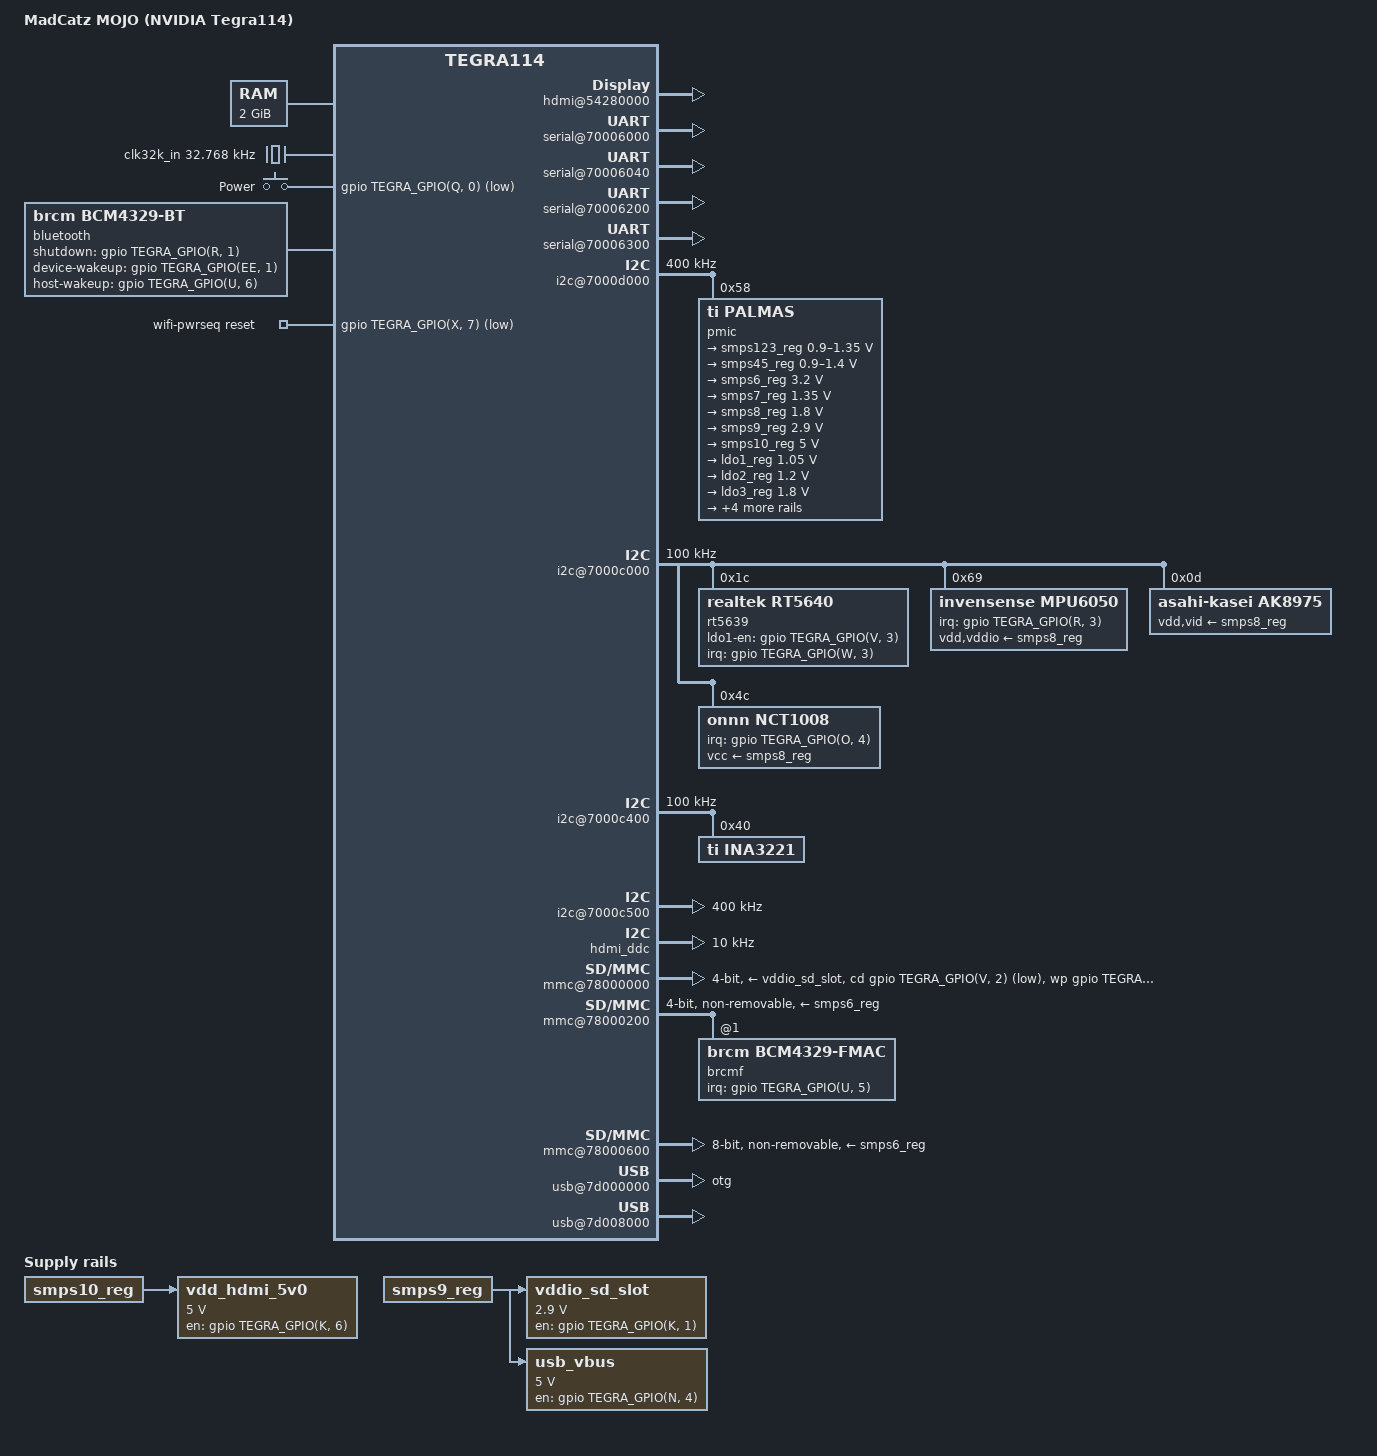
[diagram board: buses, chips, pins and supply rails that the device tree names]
// SPDX-License-Identifier: GPL-2.0
/dts-v1/;

#include <dt-bindings/input/input.h>
#include "tegra114.dtsi"

/ {
	model = "MadCatz MOJO (NVIDIA Tegra114)";
	compatible = "madcatz,mojo", "nvidia,tegra114";

	aliases {
		serial0 = &uarta;
		serial1 = &uartb;
		serial2 = &uartc;
		serial3 = &uartd;
	};

	chosen {
		stdout-path = "serial3:115200n8";
	};

	memory@80000000 {
		device_type = "memory";
		reg = <0x80000000 0x80000000>; /* 2GB */
	};

	host1x@50000000 {
		hdmi@54280000 {
			status = "okay";

			vdd-supply = <&vdd_hdmi_5v0>;
			pll-supply = <&ldo1_reg>;
			hdmi-supply = <&ldoln_reg>;

			nvidia,ddc-i2c-bus = <&hdmi_ddc>;
			nvidia,hpd-gpio = <&gpio TEGRA_GPIO(N, 7) GPIO_ACTIVE_HIGH>;
		};
	};

	pinmux@70000868 {
		pinctrl-names = "default";
		pinctrl-0 = <&state_default>;

		state_default: pinmux {
			/* Complete pinmux from existing DTS - inheriting */
		};
	};

	/* UART A - General purpose */
	serial@70006000 {
		status = "okay";
	};

	/* UART B - Bluetooth */
	serial@70006040 {
		status = "okay";
		nvidia,enable-modem-interrupt;
	};

	/* UART C - General purpose */
	serial@70006200 {
		status = "okay";
	};

	/* UART D - Debug console */
	serial@70006300 {
		status = "okay";
	};

	/* PWR I2C - PMIC */
	i2c@7000d000 {
		status = "okay";
		clock-frequency = <400000>;

		pmic: tps65913@58 {
			compatible = "ti,palmas";
			reg = <0x58>;
			interrupts = <0 86 IRQ_TYPE_LEVEL_HIGH>;

			#interrupt-cells = <2>;
			interrupt-controller;

			palmas_gpio: gpio {
				compatible = "ti,palmas-gpio";
				gpio-controller;
				#gpio-cells = <2>;
			};

			pmic {
				compatible = "ti,tps65913-pmic", "ti,palmas-pmic";

				regulators {
					smps123_reg: smps123 {
						regulator-name = "vdd-cpu";
						regulator-min-microvolt = <900000>;
						regulator-max-microvolt = <1350000>;
						regulator-always-on;
						regulator-boot-on;
					};

					smps45_reg: smps45 {
						regulator-name = "vdd-core";
						regulator-min-microvolt = <900000>;
						regulator-max-microvolt = <1400000>;
						regulator-always-on;
						regulator-boot-on;
					};

					smps6_reg: smps6 {
						regulator-name = "vdd-3v3-io";
						regulator-min-microvolt = <3200000>;
						regulator-max-microvolt = <3200000>;
						regulator-always-on;
						regulator-boot-on;
					};

					smps7_reg: smps7 {
						regulator-name = "vddio-ddr";
						regulator-min-microvolt = <1350000>;
						regulator-max-microvolt = <1350000>;
						regulator-always-on;
						regulator-boot-on;
					};

					smps8_reg: smps8 {
						regulator-name = "vddio-sys";
						regulator-min-microvolt = <1800000>;
						regulator-max-microvolt = <1800000>;
						regulator-always-on;
						regulator-boot-on;
					};

					smps9_reg: smps9 {
						regulator-name = "vddio-sd-slot";
						regulator-min-microvolt = <2900000>;
						regulator-max-microvolt = <2900000>;
						regulator-always-on;
						regulator-boot-on;
					};

					smps10_reg: smps10 {
						regulator-name = "vdd-5v0";
						regulator-min-microvolt = <5000000>;
						regulator-max-microvolt = <5000000>;
						regulator-always-on;
						regulator-boot-on;
					};

					ldo1_reg: ldo1 {
						regulator-name = "avdd-pll";
						regulator-min-microvolt = <1050000>;
						regulator-max-microvolt = <1050000>;
						regulator-always-on;
						regulator-boot-on;
					};

					ldo2_reg: ldo2 {
						regulator-name = "avdd-dsi-csi";
						regulator-min-microvolt = <1200000>;
						regulator-max-microvolt = <1200000>;
						regulator-always-on;
						regulator-boot-on;
					};

					ldo3_reg: ldo3 {
						regulator-name = "vpp-fuse";
						regulator-min-microvolt = <1800000>;
						regulator-max-microvolt = <1800000>;
					};

					ldo8_reg: ldo8 {
						regulator-name = "vdd-rtc";
						regulator-min-microvolt = <950000>;
						regulator-max-microvolt = <950000>;
						regulator-always-on;
						regulator-boot-on;
					};

					ldo9_reg: ldo9 {
						regulator-name = "vddio-sdmmc3";
						regulator-min-microvolt = <1800000>;
						regulator-max-microvolt = <2900000>;
					};

					ldoln_reg: ldoln {
						regulator-name = "avdd-hdmi";
						regulator-min-microvolt = <3300000>;
						regulator-max-microvolt = <3300000>;
					};

					ldousb_reg: ldousb {
						regulator-name = "avdd-usb";
						regulator-min-microvolt = <3300000>;
						regulator-max-microvolt = <3300000>;
						regulator-always-on;
						regulator-boot-on;
					};
				};
			};

			extcon {
				compatible = "ti,palmas-usb";
				ti,enable-id-detection;
				ti,enable-vbus-detection;
			};
		};
	};

	/* GEN1 I2C - Sensors & Audio Codec */
	i2c@7000c000 {
		status = "okay";
		clock-frequency = <100000>;

		rt5639: audio-codec@1c {
			compatible = "realtek,rt5640";
			reg = <0x1c>;
			interrupt-parent = <&gpio>;
			interrupts = <TEGRA_GPIO(W, 3) IRQ_TYPE_EDGE_FALLING>;
			realtek,ldo1-en-gpios = <&gpio TEGRA_GPIO(V, 3) GPIO_ACTIVE_HIGH>;
		};

		mpu6050: gyroscope@69 {
			compatible = "invensense,mpu6050";
			reg = <0x69>;
			interrupt-parent = <&gpio>;
			interrupts = <TEGRA_GPIO(R, 3) IRQ_TYPE_EDGE_RISING>;
			vdd-supply = <&smps8_reg>;
			vddio-supply = <&smps8_reg>;
			mount-matrix = "0", "1", "0",
				       "1", "0", "0",
				       "0", "0", "-1";
		};

		ak8975: magnetometer@d {
			compatible = "asahi-kasei,ak8975";
			reg = <0x0d>;
			vdd-supply = <&smps8_reg>;
			vid-supply = <&smps8_reg>;
			mount-matrix = "0", "1", "0",
				       "1", "0", "0",
				       "0", "0", "-1";
		};

		nct1008: temperature-sensor@4c {
			compatible = "onnn,nct1008";
			reg = <0x4c>;
			vcc-supply = <&smps8_reg>;
			interrupt-parent = <&gpio>;
			interrupts = <TEGRA_GPIO(O, 4) IRQ_TYPE_LEVEL_LOW>;
			#thermal-sensor-cells = <1>;
		};
	};

	/* GEN2 I2C - Power Monitor */
	i2c@7000c400 {
		status = "okay";
		clock-frequency = <100000>;

		ina3221@40 {
			compatible = "ti,ina3221";
			reg = <0x40>;
			#address-cells = <1>;
			#size-cells = <0>;

			channel@0 {
				reg = <0>;
				label = "PMU_MUX_RSENSE";
				shunt-resistor-micro-ohms = <5000>;
			};

			channel@1 {
				reg = <1>;
				label = "VDD_5V_CPU";
				shunt-resistor-micro-ohms = <5000000>;
			};

			channel@2 {
				reg = <2>;
				status = "disabled";
			};
		};
	};

	/* CAM I2C */
	i2c@7000c500 {
		status = "okay";
		clock-frequency = <400000>;
	};

	/* HDMI DDC */
	hdmi_ddc: i2c@7000c700 {
		status = "okay";
		clock-frequency = <10000>;
	};

	/* SD/MMC */
	mmc@78000000 {
		status = "okay";
		bus-width = <4>;
		cd-gpios = <&gpio TEGRA_GPIO(V, 2) GPIO_ACTIVE_LOW>;
		wp-gpios = <&gpio TEGRA_GPIO(Q, 4) GPIO_ACTIVE_HIGH>;
		vmmc-supply = <&vddio_sd_slot>;
		vqmmc-supply = <&ldo9_reg>;
	};

	/* WiFi SDIO */
	mmc@78000200 {
		status = "okay";
		bus-width = <4>;
		non-removable;
		vmmc-supply = <&smps6_reg>;
		vqmmc-supply = <&smps8_reg>;
		keep-power-in-suspend;

		brcmf: wifi@1 {
			compatible = "brcm,bcm4329-fmac";
			reg = <1>;
			interrupt-parent = <&gpio>;
			interrupts = <TEGRA_GPIO(U, 5) IRQ_TYPE_LEVEL_HIGH>;
			interrupt-names = "host-wake";
		};
	};

	/* eMMC */
	mmc@78000600 {
		status = "okay";
		bus-width = <8>;
		non-removable;
		vmmc-supply = <&smps6_reg>;
		vqmmc-supply = <&smps8_reg>;
	};

	/* USB */
	usb@7d000000 {
		status = "okay";
		dr_mode = "otg";
		nvidia,vbus-gpio = <&gpio TEGRA_GPIO(N, 4) GPIO_ACTIVE_HIGH>;
	};

	usb@7d008000 {
		status = "okay";
	};

	clocks {
		compatible = "simple-bus";
		#address-cells = <1>;
		#size-cells = <0>;

		clk32k_in: clock@0 {
			compatible = "fixed-clock";
			reg = <0>;
			#clock-cells = <0>;
			clock-frequency = <32768>;
		};
	};

	gpio-keys {
		compatible = "gpio-keys";

		power {
			label = "Power";
			gpios = <&gpio TEGRA_GPIO(Q, 0) GPIO_ACTIVE_LOW>;
			linux,code = <KEY_POWER>;
			debounce-interval = <10>;
			wakeup-source;
		};
	};

	regulators {
		compatible = "simple-bus";
		#address-cells = <1>;
		#size-cells = <0>;

		vdd_hdmi_5v0: regulator@0 {
			compatible = "regulator-fixed";
			reg = <0>;
			regulator-name = "vdd-hdmi-5v0";
			regulator-min-microvolt = <5000000>;
			regulator-max-microvolt = <5000000>;
			gpio = <&gpio TEGRA_GPIO(K, 6) GPIO_ACTIVE_HIGH>;
			enable-active-high;
			vin-supply = <&smps10_reg>;
		};

		vddio_sd_slot: regulator@1 {
			compatible = "regulator-fixed";
			reg = <1>;
			regulator-name = "vddio-sd-slot";
			regulator-min-microvolt = <2900000>;
			regulator-max-microvolt = <2900000>;
			gpio = <&gpio TEGRA_GPIO(K, 1) GPIO_ACTIVE_HIGH>;
			enable-active-high;
			vin-supply = <&smps9_reg>;
		};

		usb_vbus: regulator@2 {
			compatible = "regulator-fixed";
			reg = <2>;
			regulator-name = "usb-vbus";
			regulator-min-microvolt = <5000000>;
			regulator-max-microvolt = <5000000>;
			gpio = <&gpio TEGRA_GPIO(N, 4) GPIO_ACTIVE_HIGH>;
			enable-active-high;
			vin-supply = <&smps9_reg>;
		};
	};

	sound {
		compatible = "nvidia,tegra-audio-rt5640-mojo",
			     "nvidia,tegra-audio-rt5640";
		nvidia,model = "NVIDIA Tegra Mojo RT5640";

		nvidia,audio-routing =
			"Headphones", "HPOR",
			"Headphones", "HPOL",
			"Speakers", "SPORP",
			"Speakers", "SPORN",
			"Speakers", "SPOLP",
			"Speakers", "SPOLN";

		nvidia,i2s-controller = <&tegra_i2s1>;
		nvidia,audio-codec = <&rt5639>;

		clocks = <&tegra_car TEGRA114_CLK_PLL_A>,
			 <&tegra_car TEGRA114_CLK_PLL_A_OUT0>,
			 <&tegra_car TEGRA114_CLK_EXTERN1>;
		clock-names = "pll_a", "pll_a_out0", "mclk";
	};

	bluetooth {
		compatible = "brcm,bcm4329-bt";
		shutdown-gpios = <&gpio TEGRA_GPIO(R, 1) GPIO_ACTIVE_HIGH>;
		device-wakeup-gpios = <&gpio TEGRA_GPIO(EE, 1) GPIO_ACTIVE_HIGH>;
		host-wakeup-gpios = <&gpio TEGRA_GPIO(U, 6) GPIO_ACTIVE_HIGH>;
	};

	wifi-pwrseq {
		compatible = "mmc-pwrseq-simple";
		reset-gpios = <&gpio TEGRA_GPIO(X, 7) GPIO_ACTIVE_LOW>;
		power-off-delay-us = <300>;
		post-power-on-delay-ms = <200>;
	};
};
